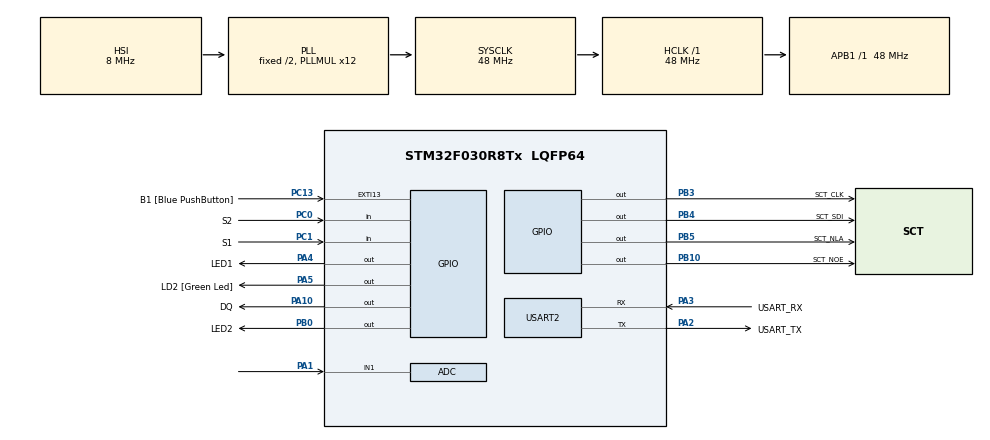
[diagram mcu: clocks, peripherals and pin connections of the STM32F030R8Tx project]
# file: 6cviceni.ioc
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ADC.ContinuousConvMode=ENABLE
ADC.Overrun=ADC_OVR_DATA_OVERWRITTEN
ADC.Resolution=ADC_RESOLUTION_10B
Mcu.Family=STM32F0
Mcu.Name=STM32F030R8Tx
Mcu.Package=LQFP64
PA1.Mode=IN1
PA1.Signal=ADC_IN1
PA10.GPIO_Label=DQ
PA10.GPIO_ModeDefaultOutputPP=GPIO_MODE_OUTPUT_OD
PA10.GPIO_PuPd=GPIO_NOPULL
PA10.Signal=GPIO_Output
PA13.GPIO_Label=TMS
PA13.Mode=Serial_Wire
PA13.Signal=SYS_SWDIO
PA14.GPIO_Label=TCK
PA14.Mode=Serial_Wire
PA14.Signal=SYS_SWCLK
PA2.GPIO_Label=USART_TX
PA2.GPIO_Mode=GPIO_MODE_AF_PP
PA2.GPIO_PuPd=GPIO_NOPULL
PA2.GPIO_Speed=GPIO_SPEED_FREQ_LOW
PA2.Mode=Asynchronous
PA2.Signal=USART2_TX
PA3.GPIO_Label=USART_RX
PA3.GPIO_Mode=GPIO_MODE_AF_PP
PA3.GPIO_PuPd=GPIO_NOPULL
PA3.GPIO_Speed=GPIO_SPEED_FREQ_LOW
PA3.Mode=Asynchronous
PA3.Signal=USART2_RX
PA4.GPIO_Label=LED1
PA4.Signal=GPIO_Output
PA5.GPIO_Label=LD2 [Green Led]
PA5.GPIO_Mode=GPIO_MODE_OUTPUT_PP
PA5.GPIO_PuPd=GPIO_NOPULL
PA5.GPIO_Speed=GPIO_SPEED_FREQ_LOW
PA5.Signal=GPIO_Output
PB0.GPIO_Label=LED2
PB0.Signal=GPIO_Output
PB10.GPIO_Label=SCT_NOE
PB10.Signal=GPIO_Output
PB3.GPIO_Label=SCT_CLK
PB3.Signal=GPIO_Output
PB4.GPIO_Label=SCT_SDI
PB4.Signal=GPIO_Output
PB5.GPIO_Label=SCT_NLA
PB5.Signal=GPIO_Output
PC0.GPIO_Label=S2
PC0.GPIO_PuPd=GPIO_PULLUP
PC0.Signal=GPIO_Input
PC1.GPIO_Label=S1
PC1.GPIO_PuPd=GPIO_PULLUP
PC1.Signal=GPIO_Input
PC13.GPIO_Label=B1 [Blue PushButton]
PC13.GPIO_ModeDefaultEXTI=GPIO_MODE_IT_FALLING
PC13.Signal=GPXTI13
PC14-OSC32_IN.Mode=LSE-External-Oscillator
PC14-OSC32_IN.Signal=RCC_OSC32_IN
PC15-OSC32_OUT.Mode=LSE-External-Oscillator
PC15-OSC32_OUT.Signal=RCC_OSC32_OUT
PF0-OSC_IN.Mode=HSE-External-Clock-Source
PF0-OSC_IN.Signal=RCC_OSC_IN
PF1-OSC_OUT.Signal=RCC_OSC_OUT
ProjectManager.HeapSize=0x200
ProjectManager.StackSize=0x400
ProjectManager.TargetToolchain=STM32CubeIDE
RCC.AHBFreq_Value=48000000
RCC.APB1Freq_Value=48000000
RCC.APB1TimFreq_Value=48000000
RCC.HCLKFreq_Value=48000000
RCC.PLLMUL=RCC_PLL_MUL12
RCC.SYSCLKFreq_VALUE=48000000
RCC.SYSCLKSource=RCC_SYSCLKSOURCE_PLLCLK
USART2.VirtualMode-Asynchronous=VM_ASYNC
board=NUCLEO-F030R8

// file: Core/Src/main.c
/* USER CODE BEGIN Header */
/**
  ******************************************************************************
  * @file           : main.c
  * @brief          : Main program body
  ******************************************************************************
  * @attention
  *
  * Copyright (c) 2022 STMicroelectronics.
  * All rights reserved.
  *
  * This software is licensed under terms that can be found in the LICENSE file
  * in the root directory of this software component.
  * If no LICENSE file comes with this software, it is provided AS-IS.
  *
  ******************************************************************************
  */
/* USER CODE END Header */
#include "main.h"

/* USER CODE BEGIN Includes */
#include "1wire.h"
#include "sct.h"
#include "data.h"
/* USER CODE END Includes */

/* USER CODE BEGIN PD */
#define CONVERT_T_DELAY 750
#define DELAY 50
/* USER CODE END PD */

ADC_HandleTypeDef hadc;

UART_HandleTypeDef huart2;

void SystemClock_Config(void);
static void MX_GPIO_Init(void);
static void MX_USART2_UART_Init(void);
static void MX_ADC_Init(void);

int main(void)
{

  /* MCU Configuration--------------------------------------------------------*/

  /* Reset of all peripherals, Initializes the Flash interface and the Systick. */
  HAL_Init();

  /* Configure the system clock */
  SystemClock_Config();

  /* Initialize all configured peripherals */
  MX_GPIO_Init();
  MX_USART2_UART_Init();
  MX_ADC_Init();
  /* USER CODE BEGIN 2 */
  OWInit(); // initialization of 1wire
  HAL_ADCEx_Calibration_Start(&hadc); // start of calibration
  HAL_ADC_Start(&hadc); // start of continual sampling
  /* USER CODE END 2 */

  /* Infinite loop */
  while (1)
  {

    /* USER CODE BEGIN 3 */
	  /* Task 1 */
	  //int16_t temperature;
//	  OWConvertAll(); // reads all data on temperature sensor
//	  HAL_Delay(CONVERT_T_DELAY); // long delay while sensor is reading data
//	  OWReadTemperature(&temperature); // reads through 1Wire temperature
//	  temperature /= 10; // making from 1206 (12.06 °C) into 121 (12.1 °C)
//	  sct_value(temperature, 0); // shows on sevensegment display temperature
	  /* End of task 1 */
	  /* Task 2 and 3 */
	  static enum { SHOW_NTC, SHOW_DS18B20 } state = SHOW_NTC;
	  static uint32_t LastDisplayTicks = 0;
	  static uint32_t LastSampleTicks = 0;
	  static int16_t adc_value;
	  int16_t temperature;
	  static uint8_t counter = 0;
	  if (HAL_GetTick() >= LastSampleTicks + CONVERT_T_DELAY) {
		  LastSampleTicks = HAL_GetTick();
		  /* NTC */
		  adc_value = HAL_ADC_GetValue(&hadc); // reads actual ADC value (from 0 to 1023)
		  /* DS18B20 */
		  OWConvertAll(); // reads all data on temperature sensor
		  if (counter >= 1) {
			  counter = 0;
			  OWReadTemperature(&temperature); // reads through 1Wire temperature
			  temperature /= 10; // making from 1206 (12.06 °C) into 121 (12.1 °C)
		  }
		  else {
			  counter++;
		  }

	  }
	  if (HAL_GetTick() >= LastDisplayTicks + DELAY) {
		  if (!HAL_GPIO_ReadPin(S2_GPIO_Port, S2_Pin)) { // if button S2 is pushed, show SHOW_NTC
			  state = SHOW_NTC;
		  }
		  if (!HAL_GPIO_ReadPin(S1_GPIO_Port, S1_Pin)) { // if button S1 is pushed, show SHOW_DS18B20
			  state = SHOW_DS18B20;
		  }
		  switch (state)
		  {
		  case SHOW_NTC:
			  HAL_GPIO_WritePin(LED2_GPIO_Port, LED2_Pin, 0); // LED2 OFF
			  HAL_GPIO_WritePin(LED1_GPIO_Port, LED1_Pin, 1); // LED1 ON
			  if (adc_value <= 59) { // making from 1206 (12.06 °C) into 121 (12.1 °C) in case of low adc value
				  sct_value(NTC_LOOKUP_TABLE[adc_value] / 10, 0); // show temperature on sevensegment
			  }

			  else {
				  sct_value(NTC_LOOKUP_TABLE[adc_value], 0); // show temperature on sevensegment
			  }
			  break;
		  case SHOW_DS18B20:
			  HAL_GPIO_WritePin(LED1_GPIO_Port, LED1_Pin, 0); // LED1 OFF
			  HAL_GPIO_WritePin(LED2_GPIO_Port, LED2_Pin, 1); // LED2 ON
			  sct_value(temperature, 0); // shows on sevensegment display temperature
			  break;
		  default:
			  state = SHOW_NTC;
		  }
	  }
	  /* End of task 2 and 3 */
  }
  /* USER CODE END 3 */
}

void SystemClock_Config(void)
{
  RCC_OscInitTypeDef RCC_OscInitStruct = {0};
  RCC_ClkInitTypeDef RCC_ClkInitStruct = {0};

  /** Initializes the RCC Oscillators according to the specified parameters
  * in the RCC_OscInitTypeDef structure.
  */
  RCC_OscInitStruct.OscillatorType = RCC_OSCILLATORTYPE_HSI|RCC_OSCILLATORTYPE_HSI14;
  RCC_OscInitStruct.HSIState = RCC_HSI_ON;
  RCC_OscInitStruct.HSI14State = RCC_HSI14_ON;
  RCC_OscInitStruct.HSICalibrationValue = RCC_HSICALIBRATION_DEFAULT;
  RCC_OscInitStruct.HSI14CalibrationValue = 16;
  RCC_OscInitStruct.PLL.PLLState = RCC_PLL_ON;
  RCC_OscInitStruct.PLL.PLLSource = RCC_PLLSOURCE_HSI;
  RCC_OscInitStruct.PLL.PLLMUL = RCC_PLL_MUL12;
  RCC_OscInitStruct.PLL.PREDIV = RCC_PREDIV_DIV1;
  if (HAL_RCC_OscConfig(&RCC_OscInitStruct) != HAL_OK)
  {
    Error_Handler();
  }

  /** Initializes the CPU, AHB and APB buses clocks
  */
  RCC_ClkInitStruct.ClockType = RCC_CLOCKTYPE_HCLK|RCC_CLOCKTYPE_SYSCLK
                              |RCC_CLOCKTYPE_PCLK1;
  RCC_ClkInitStruct.SYSCLKSource = RCC_SYSCLKSOURCE_PLLCLK;
  RCC_ClkInitStruct.AHBCLKDivider = RCC_SYSCLK_DIV1;
  RCC_ClkInitStruct.APB1CLKDivider = RCC_HCLK_DIV1;

  if (HAL_RCC_ClockConfig(&RCC_ClkInitStruct, FLASH_LATENCY_1) != HAL_OK)
  {
    Error_Handler();
  }
}

static void MX_ADC_Init(void)
{

  ADC_ChannelConfTypeDef sConfig = {0};

  /** Configure the global features of the ADC (Clock, Resolution, Data Alignment and number of conversion)
  */
  hadc.Instance = ADC1;
  hadc.Init.ClockPrescaler = ADC_CLOCK_ASYNC_DIV1;
  hadc.Init.Resolution = ADC_RESOLUTION_10B;
  hadc.Init.DataAlign = ADC_DATAALIGN_RIGHT;
  hadc.Init.ScanConvMode = ADC_SCAN_DIRECTION_FORWARD;
  hadc.Init.EOCSelection = ADC_EOC_SINGLE_CONV;
  hadc.Init.LowPowerAutoWait = DISABLE;
  hadc.Init.LowPowerAutoPowerOff = DISABLE;
  hadc.Init.ContinuousConvMode = ENABLE;
  hadc.Init.DiscontinuousConvMode = DISABLE;
  hadc.Init.ExternalTrigConv = ADC_SOFTWARE_START;
  hadc.Init.ExternalTrigConvEdge = ADC_EXTERNALTRIGCONVEDGE_NONE;
  hadc.Init.DMAContinuousRequests = DISABLE;
  hadc.Init.Overrun = ADC_OVR_DATA_OVERWRITTEN;
  if (HAL_ADC_Init(&hadc) != HAL_OK)
  {
    Error_Handler();
  }

  /** Configure for the selected ADC regular channel to be converted.
  */
  sConfig.Channel = ADC_CHANNEL_1;
  sConfig.Rank = ADC_RANK_CHANNEL_NUMBER;
  sConfig.SamplingTime = ADC_SAMPLETIME_1CYCLE_5;
  if (HAL_ADC_ConfigChannel(&hadc, &sConfig) != HAL_OK)
  {
    Error_Handler();
  }

}

static void MX_USART2_UART_Init(void)
{

  huart2.Instance = USART2;
  huart2.Init.BaudRate = 38400;
  huart2.Init.WordLength = UART_WORDLENGTH_8B;
  huart2.Init.StopBits = UART_STOPBITS_1;
  huart2.Init.Parity = UART_PARITY_NONE;
  huart2.Init.Mode = UART_MODE_TX_RX;
  huart2.Init.HwFlowCtl = UART_HWCONTROL_NONE;
  huart2.Init.OverSampling = UART_OVERSAMPLING_16;
  huart2.Init.OneBitSampling = UART_ONE_BIT_SAMPLE_DISABLE;
  huart2.AdvancedInit.AdvFeatureInit = UART_ADVFEATURE_NO_INIT;
  if (HAL_UART_Init(&huart2) != HAL_OK)
  {
    Error_Handler();
  }

}

static void MX_GPIO_Init(void)
{
  GPIO_InitTypeDef GPIO_InitStruct = {0};

  /* GPIO Ports Clock Enable */
  __HAL_RCC_GPIOC_CLK_ENABLE();
  __HAL_RCC_GPIOF_CLK_ENABLE();
  __HAL_RCC_GPIOA_CLK_ENABLE();
  __HAL_RCC_GPIOB_CLK_ENABLE();

  /*Configure GPIO pin Output Level */
  HAL_GPIO_WritePin(GPIOA, GPIO_PIN_4|GPIO_PIN_5|GPIO_PIN_10, GPIO_PIN_RESET);

  /*Configure GPIO pin Output Level */
  HAL_GPIO_WritePin(GPIOB, GPIO_PIN_0|GPIO_PIN_10|GPIO_PIN_3|GPIO_PIN_4
                          |GPIO_PIN_5, GPIO_PIN_RESET);

  /*Configure GPIO pin : PC13 */
  GPIO_InitStruct.Pin = GPIO_PIN_13;
  GPIO_InitStruct.Mode = GPIO_MODE_IT_FALLING;
  GPIO_InitStruct.Pull = GPIO_NOPULL;
  HAL_GPIO_Init(GPIOC, &GPIO_InitStruct);

  /*Configure GPIO pins : PC0 PC1 */
  GPIO_InitStruct.Pin = GPIO_PIN_0|GPIO_PIN_1;
  GPIO_InitStruct.Mode = GPIO_MODE_INPUT;
  GPIO_InitStruct.Pull = GPIO_PULLUP;
  HAL_GPIO_Init(GPIOC, &GPIO_InitStruct);

  /*Configure GPIO pins : PA4 PA5 */
  GPIO_InitStruct.Pin = GPIO_PIN_4|GPIO_PIN_5;
  GPIO_InitStruct.Mode = GPIO_MODE_OUTPUT_PP;
  GPIO_InitStruct.Pull = GPIO_NOPULL;
  GPIO_InitStruct.Speed = GPIO_SPEED_FREQ_LOW;
  HAL_GPIO_Init(GPIOA, &GPIO_InitStruct);

  /*Configure GPIO pins : PB0 PB10 PB3 PB4
                           PB5 */
  GPIO_InitStruct.Pin = GPIO_PIN_0|GPIO_PIN_10|GPIO_PIN_3|GPIO_PIN_4
                          |GPIO_PIN_5;
  GPIO_InitStruct.Mode = GPIO_MODE_OUTPUT_PP;
  GPIO_InitStruct.Pull = GPIO_NOPULL;
  GPIO_InitStruct.Speed = GPIO_SPEED_FREQ_LOW;
  HAL_GPIO_Init(GPIOB, &GPIO_InitStruct);

  /*Configure GPIO pin : PA10 */
  GPIO_InitStruct.Pin = GPIO_PIN_10;
  GPIO_InitStruct.Mode = GPIO_MODE_OUTPUT_OD;
  GPIO_InitStruct.Pull = GPIO_NOPULL;
  GPIO_InitStruct.Speed = GPIO_SPEED_FREQ_LOW;
  HAL_GPIO_Init(GPIOA, &GPIO_InitStruct);

}

void Error_Handler(void)
{
  __disable_irq();
  while (1)
  {
  }
}
